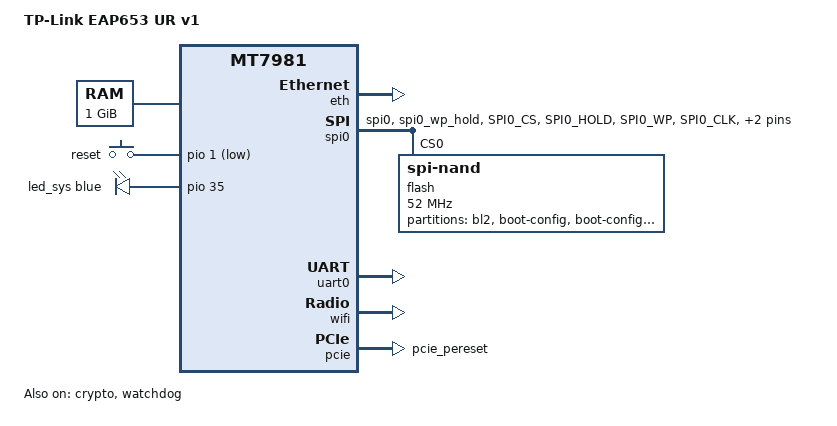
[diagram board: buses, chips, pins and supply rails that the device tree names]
// SPDX-License-Identifier: (GPL-2.0 OR MIT)

/dts-v1/;
#include "mt7981.dtsi"

/ {
	model = "TP-Link EAP653 UR v1";
	compatible = "tplink,eap653ur-v1", "mediatek,mt7981";

	aliases {
		led-boot = &led_sys;
		led-failsafe = &led_sys;
		led-running = &led_sys;
		led-upgrade = &led_sys;
		serial0 = &uart0;
	};

	chosen {
		stdout-path = "serial0:115200n8";
		bootargs-append = " ubi.mtd=ubi root=/dev/ubiblock0_1";
	};

	memory {
		reg = <0 0x40000000 0 0x40000000>;
	};

	gpio-keys {
		compatible = "gpio-keys";

		reset {
			label = "reset";
			linux,code = <KEY_RESTART>;
			gpios = <&pio 1 GPIO_ACTIVE_LOW>; //TODO
		};
	};

	gpio-leds {
		compatible = "gpio-leds";

		led_sys: led-0 {
			color = <LED_COLOR_ID_BLUE>;
			function = LED_FUNCTION_STATUS;
			gpios = <&pio 35 GPIO_ACTIVE_HIGH>; //TODO
		};

	};

};

&eth {
	status = "okay";

	gmac1: mac@1 {
		compatible = "mediatek,eth-mac";
		reg = <1>;
		phy-mode = "gmii";
		phy-handle = <&int_gbe_phy>;
		nvmem-cells = <&macaddr_factory_4 0>;
		nvmem-cell-names = "mac-address";
	};
};

&crypto {
	status = "okay";
};

&pio {
	spi0_flash_pins: spi0-pins {
		mux {
			function = "spi";
			groups = "spi0", "spi0_wp_hold";
		};

		conf-pu {
			pins = "SPI0_CS", "SPI0_HOLD", "SPI0_WP";
			drive-strength = <MTK_DRIVE_8mA>;
			bias-pull-up = <MTK_PUPD_SET_R1R0_11>;
		};

		conf-pd {
			pins = "SPI0_CLK", "SPI0_MOSI", "SPI0_MISO";
			drive-strength = <MTK_DRIVE_8mA>;
			bias-pull-down = <MTK_PUPD_SET_R1R0_11>;
		};
	};

	spi1_flash_pins: spi1-pins {
		mux {
			function = "spi";
			groups = "spi1_1";
		};

		conf-pu {
			pins = "SPI1_CS";
			drive-strength = <MTK_DRIVE_8mA>;
			bias-pull-up = <MTK_PUPD_SET_R1R0_11>;
		};

		conf-pd {
			pins = "SPI1_CLK", "SPI1_MOSI", "SPI1_MISO";
			drive-strength = <MTK_DRIVE_8mA>;
			bias-pull-down = <MTK_PUPD_SET_R1R0_11>;
		};
	};

	spi2_flash_pins: spi2-pins {
		mux {
			function = "spi";
			groups = "spi2";
		};

		conf-pu {
			pins = "SPI2_CS", "SPI2_WP";
			drive-strength = <MTK_DRIVE_8mA>;
			bias-pull-up = <MTK_PUPD_SET_R1R0_11>;
		};

		conf-pd {
			pins = "SPI2_CLK", "SPI2_MOSI", "SPI2_MISO";
			drive-strength = <MTK_DRIVE_8mA>;
			bias-pull-down = <MTK_PUPD_SET_R1R0_11>;
		};
	};

	i2c_pins: i2c-pins {
		mux {
			function = "i2c";
			groups = "i2c0_0";
		};
	};

	pwm_pins: pwm-pins {
		mux {
			function = "pwm";
			groups = "pwm0_0", "pwm1_1";
		};
	};

	pcie_pins: pcie-pins {
		mux {
			function = "pcie";
			groups = "pcie_pereset";
		};
	};
	
};

&spi0 {
	pinctrl-names = "default";
	pinctrl-0 = <&spi0_flash_pins>;
	status = "okay";

	flash@0 {
		#address-cells = <1>;
		#size-cells = <1>;
		compatible = "spi-nand";
		reg = <0>;
		spi-max-frequency = <52000000>;

		spi-rx-bus-width = <4>;
		spi-tx-bus-width = <4>;

		mediatek,nmbm;
		mediatek,bmt-max-ratio = <1>;
		mediatek,bmt-max-reserved-blocks = <64>;


		partitions {
			compatible = "fixed-partitions";
			#address-cells = <1>;
			#size-cells = <1>;

			partition@0 {
				label = "bl2";
				reg = <0x0 0x100000>;
				read-only;
			};

			partition@100000 {
				label = "boot-config";
				reg = <0x100000 0x100000>;
				read-only;
			};

			partition@200000 {
				reg = <0x200000 0x100000>;
				label = "boot-config1";
				read-only;
	    		};

			partition@300000 {
				reg = <0x300000 0x100000>;
				label = "u-boot-env";
			};

			partition@400000 {
				reg = <0x400000 0x200000>;
				label = "FIP0";
				read-only;
			};

			partition@600000 {
				reg = <0x600000 0x200000>;
				label = "FIP1";
				read-only;
			};

			partition@800000 {
				reg = <0x800000 0x100000>;
				label = "oops";
			};

			partition@900000 {
				reg = <0x900000 0x2680000>;
				label = "ubi";
			};

			partition@2f80000 {
				reg = <0x2f80000 0x2680000>;
				label = "ubi1";
				read-only;
			};

			partition@5600000 {
				reg = <0x5600000 0x800000>;
				label = "ubi_factory_data";
				read-only;
				nvmem-layout {
					compatible = "fixed-layout";
					#address-cells = <1>;
					#size-cells = <1>;
					
					macaddr_factory_4: macaddr@4 {
						compatible = "default-mac";
						reg = <0x4 0x6>;
						#nvmem-cell-cells = <1>;
					};
				};
			};

			partition@5e00000 {
				reg = <0x5e00000 0x800000>;
				label = "runtime_data";
				read-only;
			};

			partition@6a00000 {
				reg = <0x6a00000 0x800000>;
				label = "backup_data";
				read-only;
			};

			partition@7200000 {
				reg = <0x7200000 0x600000>;
				label = "backup_backup";
				read-only;
			};

		};
	};
};

&uart0 {
	status = "okay";
};

&watchdog {
	status = "okay";
};

&wifi {
	status = "okay";
};

&pcie {
	pinctrl-names = "default";
	pinctrl-0 = <&pcie_pins>;
	status = "okay";
};
